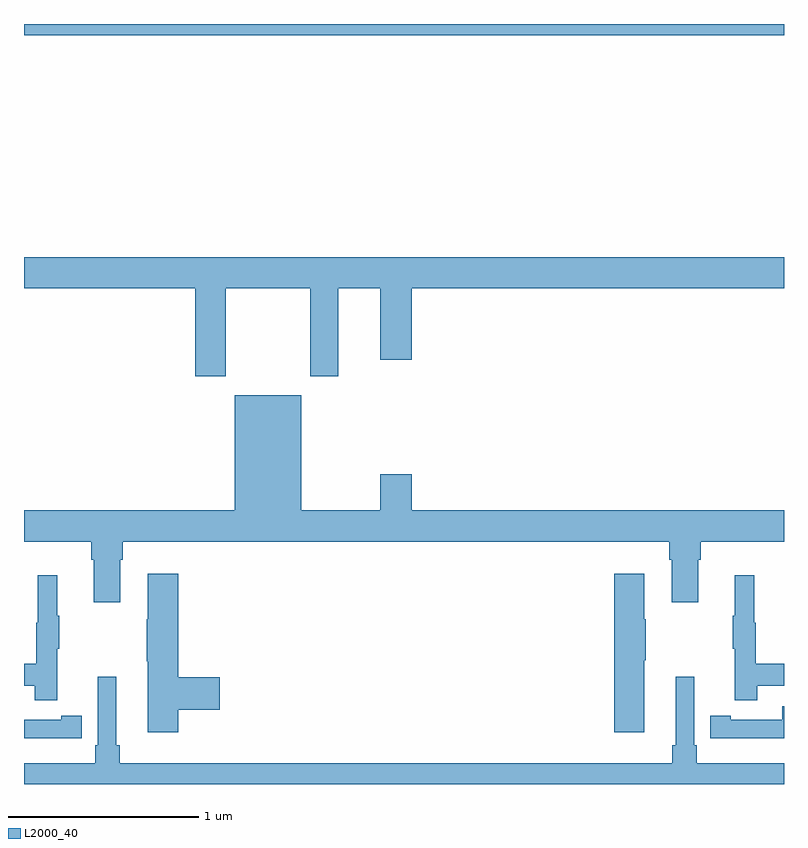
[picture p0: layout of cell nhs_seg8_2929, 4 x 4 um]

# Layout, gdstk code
import gdstk
lib = gdstk.Library(unit=1e-6, precision=1e-09)
def R(c, l, rs):  # rectangles x0, y0, x1, y1
    for r in rs: c.add(gdstk.rectangle(r[:2], r[2:], *l))
def P(c, l, *ps):  # polygons
    for p in ps: c.add(gdstk.Polygon(p, *l))
L2000_40 = (2000, 40)

nhs_seg8_2929 = lib.new_cell('nhs_seg8_2929')
R(nhs_seg8_2929, L2000_40, [(295,1109.84,299,1109.9)])
P(nhs_seg8_2929, L2000_40, [(296.061,1108.508),(296.506,1108.508),(296.506,1108.047),(296.653,1108.047),(296.653,1108.508),(296.876,1108.508),(296.876,1108.134),(297.04,1108.134),(297.04,1108.508),(299,1108.508),(299,1108.672),(295,1108.672),(295,1108.508),(295.901,1108.508),(295.901,1108.047),(296.061,1108.047)],
  [(295.507,1107.08),(295.52,1107.08),(295.52,1107.176),(298.397,1107.176),(298.397,1107.08),(298.409,1107.08),(298.409,1106.856),(298.549,1106.856),(298.549,1107.08),(298.562,1107.08),(298.562,1107.176),(299,1107.176),(299,1107.34),(297.04,1107.34),(297.04,1107.529),(296.876,1107.529),(296.876,1107.34),(296.458,1107.34),(296.458,1107.946),(296.108,1107.946),(296.108,1107.34),(295,1107.34),(295,1107.176),(295.355,1107.176),(295.355,1107.08),(295.367,1107.08),(295.367,1106.856),(295.507,1106.856)],
  [(295.811,1106.291),(296.029,1106.291),(296.029,1106.462),(295.811,1106.462),(295.811,1107.007),(295.652,1107.007),(295.652,1106.768),(295.645,1106.768),(295.645,1106.545),(295.652,1106.545),(295.652,1106.172),(295.811,1106.172)],
  [(298.264,1106.551),(298.272,1106.551),(298.272,1106.768),(298.264,1106.768),(298.264,1107.007),(298.106,1107.007),(298.106,1106.172),(298.264,1106.172)],
  [(298.859,1106.418),(299,1106.418),(299,1106.534),(298.852,1106.534),(298.852,1106.748),(298.844,1106.748),(298.844,1106.998),(298.742,1106.998),(298.742,1106.785),(298.731,1106.785),(298.731,1106.611),(298.742,1106.611),(298.742,1106.34),(298.859,1106.34)],
  [(295.175,1106.611),(295.186,1106.611),(295.186,1106.785),(295.175,1106.785),(295.175,1106.998),(295.072,1106.998),(295.072,1106.748),(295.065,1106.748),(295.065,1106.534),(295,1106.534),(295,1106.418),(295.057,1106.418),(295.057,1106.34),(295.175,1106.34)],
  [(299,1106.008),(298.541,1106.008),(298.541,1106.104),(298.527,1106.104),(298.527,1106.464),(298.43,1106.464),(298.43,1106.104),(298.411,1106.104),(298.411,1106.008),(295.505,1106.008),(295.505,1106.104),(295.486,1106.104),(295.486,1106.464),(295.389,1106.464),(295.389,1106.104),(295.376,1106.104),(295.376,1106.008),(295,1106.008),(295,1105.9),(299,1105.9)],
  [(299,1106.31),(298.992,1106.31),(298.992,1106.238),(298.72,1106.238),(298.72,1106.258),(298.612,1106.258),(298.612,1106.142),(298.72,1106.142),(298.72,1106.141),(299,1106.141)],
  [(295.196,1106.142),(295.304,1106.142),(295.304,1106.258),(295.196,1106.258),(295.196,1106.238),(295,1106.238),(295,1106.141),(295.196,1106.141)])

lib.write_gds('nhs_seg8_2929.gds')
